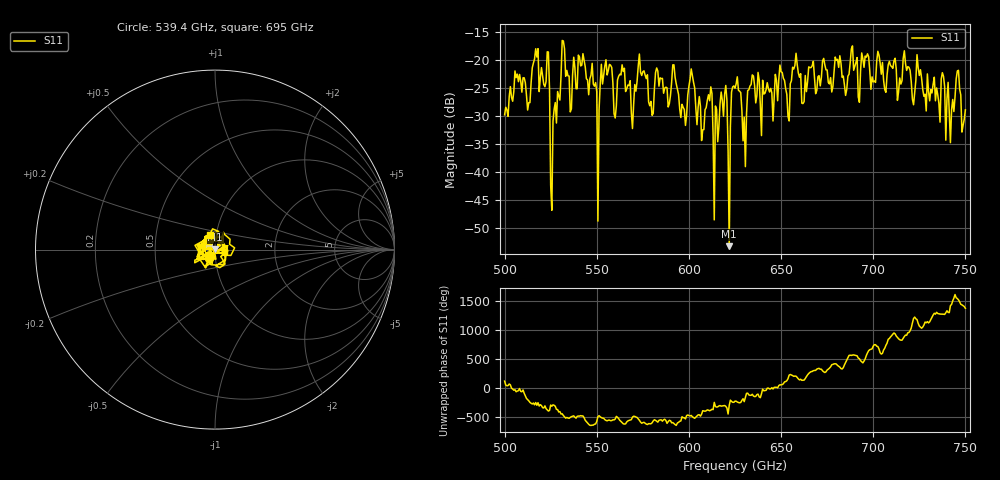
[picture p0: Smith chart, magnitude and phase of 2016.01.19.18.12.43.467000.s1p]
!Created with skrf (http://scikit-rf.org).
# GHz S RI R 50.0
!freq ReS11 ImS11
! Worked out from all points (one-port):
!   401 points, 500 GHz to 750 GHz, reference 50 ohm
!   lowest |S11| = -53.2 dB at 621.9 GHz (marker M1), VSWR 1.00, Z = 50.1 + j0.203 ohm
!   |S11| at or under -10 dB: start of sweep to end of sweep
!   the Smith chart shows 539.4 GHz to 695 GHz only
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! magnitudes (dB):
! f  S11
! 500 GHz  -29.7
! 506.9 GHz  -22.5
! 513.1 GHz  -27.5
! 516.9 GHz  -17.9
! 523.1 GHz  -18.5
! 526.2 GHz  -30.9
! 531.2 GHz  -16.5
! 548.1 GHz  -24.2
! 550 GHz  -25.6
! 553.8 GHz  -22.7
! 560 GHz  -30.3
! 562.5 GHz  -22.5
! 593.8 GHz  -25.1
! 601.9 GHz  -22.7
! 608.1 GHz  -32.4
! 611.2 GHz  -27.2
! 614.4 GHz  -28.2
! 618.8 GHz  -30.0
! 621.9 GHz  -53.2
! 625 GHz  -25.0
! 630 GHz  -30.2
! 633.8 GHz  -24.3
! 656.2 GHz  -21.2
! 687.5 GHz  -20.4
! 718.8 GHz  -21.1
! 740.6 GHz  -23.9
! 746.2 GHz  -21.8
! 750 GHz  -28.8
